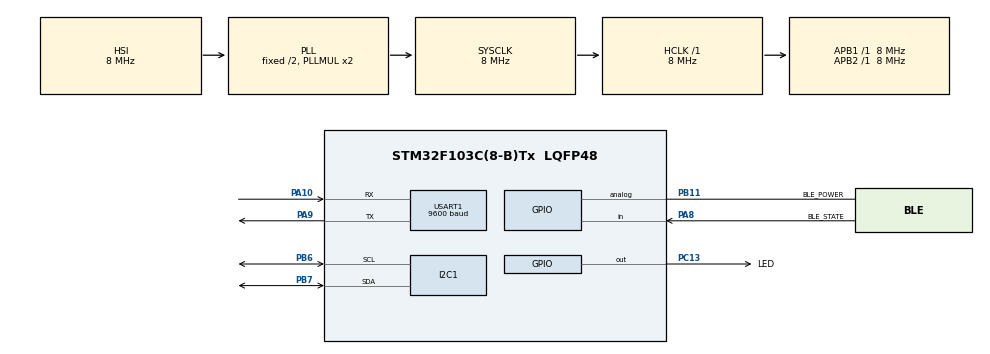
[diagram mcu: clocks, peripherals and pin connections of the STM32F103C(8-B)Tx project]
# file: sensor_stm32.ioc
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IWDG.Prescaler=IWDG_PRESCALER_256
Mcu.Family=STM32F1
Mcu.Name=STM32F103C(8-B)Tx
Mcu.Package=LQFP48
NVIC.PriorityGroup=NVIC_PRIORITYGROUP_4
NVIC.USART1_IRQn=true\:0\:0\:false\:false\:true\:true\:true\:true
PA10.Mode=Asynchronous
PA10.Signal=USART1_RX
PA13.Mode=Serial_Wire
PA13.Signal=SYS_JTMS-SWDIO
PA14.Mode=Serial_Wire
PA14.Signal=SYS_JTCK-SWCLK
PA8.GPIO_Label=BLE_STATE
PA8.Signal=GPIO_Input
PA9.Mode=Asynchronous
PA9.Signal=USART1_TX
PB11.GPIO_Label=BLE_POWER
PB11.Signal=GPIO_Analog
PB6.Mode=I2C
PB6.Signal=I2C1_SCL
PB7.Mode=I2C
PB7.Signal=I2C1_SDA
PC13-TAMPER-RTC.GPIO_Label=LED
PC13-TAMPER-RTC.PinState=GPIO_PIN_SET
PC13-TAMPER-RTC.Signal=GPIO_Output
ProjectManager.HeapSize=0x200
ProjectManager.StackSize=0x400
ProjectManager.TargetToolchain=STM32CubeIDE
RCC.AHBFreq_Value=8000000
RCC.APB1Freq_Value=8000000
RCC.APB1TimFreq_Value=8000000
RCC.APB2Freq_Value=8000000
RCC.APB2TimFreq_Value=8000000
RCC.HCLKFreq_Value=8000000
RCC.RTCClockSelection=RCC_RTCCLKSOURCE_LSE
RCC.SYSCLKFreq_VALUE=8000000
RCC.SYSCLKSource=RCC_SYSCLKSOURCE_PLLCLK
RCC.USBFreq_Value=8000000
USART1.BaudRate=9600
USART1.VirtualMode=VM_ASYNC
VP_IWDG_VS_IWDG.Mode=IWDG_Activate
board=custom

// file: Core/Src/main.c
/* USER CODE BEGIN Header */
/**
  ******************************************************************************
  * @file           : main.c
  * @brief          : Main program body
  ******************************************************************************
  * @attention
  *
  * Copyright (c) 2023 STMicroelectronics.
  * All rights reserved.
  *
  * This software is licensed under terms that can be found in the LICENSE file
  * in the root directory of this software component.
  * If no LICENSE file comes with this software, it is provided AS-IS.
  *
  ******************************************************************************
  */

/* USER CODE END Header */
#include "main.h"
#include "i2c.h"
#include "iwdg.h"
#include "usart.h"
#include "gpio.h"

/* USER CODE BEGIN Includes */

#include "sht3x.h"

/* USER CODE END Includes */

/* USER CODE BEGIN PTD */

#define USE_CLI 0
#define BLE_TIMEOUT_QUANTUM_MS 100
#define BLE_MAX_CONNECTION_TRIES (1000 / BLE_TIMEOUT_QUANTUM_MS * 3) // 3 seconds

#define BLE_5s_delay_counter 3125
#define BLE_30s_delay_counter 4095

// TODO Create an error code table
const char SENSOR_UNAVAILABLE_ERROR_STR[] = "e:1\n";
const char BLE_NO_RESPONSE_FROM_HOST[] = "e:2\n";

/* USER CODE END PTD */

void SystemClock_Config(void);
/* USER CODE BEGIN PFP */
inline void prepare_and_send_data();
inline void wait_reply_from_host();
inline void ble_on();
inline void ble_off();
inline void sleep();
/* USER CODE END PFP */

/* USER CODE BEGIN 0 */
// Create the handle for the sensor.
sht3x_handle_t handle = {
	.i2c_handle = &hi2c1,
	.device_address = SHT3X_I2C_DEVICE_ADDRESS_ADDR_PIN_LOW
//	.device_address = SHT3X_I2C_DEVICE_ADDRESS_ADDR_PIN_HIGH
};

bool is_sensor_work = true;

// TODO Test
#define BUFF_SIZE 128

bool on_BLE_data_ready = false;
uint8_t BLE_buff[BUFF_SIZE];
uint16_t BLE_received_data_size = 0;
uint8_t uart_sym;

extern uint32_t IWDG_prescaler;
extern uint32_t IWDG_reload;

const char request[] = "REQ\n";

const uint8_t BLE_MAX_REQUESTS = 5;
/* USER CODE END 0 */

int main(void)
{

  /* MCU Configuration--------------------------------------------------------*/

  /* Reset of all peripherals, Initializes the Flash interface and the Systick. */
  HAL_Init();

  /* Configure the system clock */
  SystemClock_Config();

  /* Initialize all configured peripherals */
  MX_GPIO_Init();
  MX_USART1_UART_Init();
  MX_I2C1_Init();
  MX_IWDG_Init();
  /* USER CODE BEGIN 2 */
  /* Clear the WU FLAG */
   __HAL_PWR_CLEAR_FLAG(PWR_FLAG_WU);	// Clear a flag to prevent endless MCU reseting
  /* USER CODE END 2 */

  /* Infinite loop */
  /* USER CODE BEGIN WHILE */

   /*
    * Какую инфу нужно отправлять?
    * 	- температура
    * 	- влажность
    * 	- заряд батереи!
    * 	- ошибку, если датчик влажности не работает
    */

  ble_on();

  bool is_connected = false;

  // Wait for connect
  for (uint8_t i = 0; i < BLE_MAX_CONNECTION_TRIES; ++i) {
	  is_connected = HAL_GPIO_ReadPin(BLE_STATE_GPIO_Port, BLE_STATE_Pin);

	  if (is_connected)
		  break;

	  HAL_Delay(BLE_TIMEOUT_QUANTUM_MS);
  }

  HAL_UART_Receive_IT(&huart1, &uart_sym, 1);

  // Initialise sensor (tests connection by reading the status register).
  is_sensor_work = sht3x_init(&handle);

  if (is_connected) {
	  if (is_sensor_work) {

		  HAL_Delay(1000);
		  prepare_and_send_data();

//		  wait_reply_from_host();
		  bool exit_flag = false;
		uint8_t ble_current_request_count = 0;
		while (exit_flag == false) {
			if (on_BLE_data_ready) {
				if (BLE_buff[0] == 'S') {
					exit_flag = true;

					if (BLE_buff[2] == '1') {
						// Set freq to 5 sec
						IWDG_prescaler = IWDG_PRESCALER_64;
						IWDG_reload = BLE_5s_delay_counter;
					}
					else if (BLE_buff[2] == '2') {
						// Set freq to 26 sec
						IWDG_prescaler = IWDG_PRESCALER_256;
						IWDG_reload = BLE_30s_delay_counter;
					}
					else {
						// Handle error
					}
				}
			}

			// Timeout
			if (ble_current_request_count > BLE_MAX_REQUESTS) {
//				HAL_UART_Transmit(&huart1, (uint8_t*)BLE_NO_RESPONSE_FROM_HOST,
//								strlen(BLE_NO_RESPONSE_FROM_HOST), 100);
				break;
			}

			++ble_current_request_count;

			HAL_Delay(300);
			HAL_UART_Transmit(&huart1, request, sizeof(request), 100);
		}
	  }
	  else {
		  // Change timer period to max period
		  // Set freq to 26 sec
		  IWDG_prescaler = IWDG_PRESCALER_256;
		  IWDG_reload = BLE_30s_delay_counter;

		  // Send an error
		  HAL_UART_Transmit(&huart1, (uint8_t*)SENSOR_UNAVAILABLE_ERROR_STR,
				  	  	    strlen(SENSOR_UNAVAILABLE_ERROR_STR), 100);
	  }
  }
  else {
	  // If couldn't connect to BLE go to low power checking mode - just try to connect every 26 seconds
	  // Set freq to 26 sec
	  IWDG_prescaler = IWDG_PRESCALER_256;
	  IWDG_reload = BLE_30s_delay_counter;
  }

  // Apply new IWDG timer settings before sleep
  MX_IWDG_Init();

  sleep();

  while (1)
  {
    /* USER CODE END WHILE */

  }
}

void SystemClock_Config(void)
{
  RCC_OscInitTypeDef RCC_OscInitStruct = {0};
  RCC_ClkInitTypeDef RCC_ClkInitStruct = {0};

  /** Initializes the RCC Oscillators according to the specified parameters
  * in the RCC_OscInitTypeDef structure.
  */
  RCC_OscInitStruct.OscillatorType = RCC_OSCILLATORTYPE_HSI|RCC_OSCILLATORTYPE_LSI;
  RCC_OscInitStruct.HSIState = RCC_HSI_ON;
  RCC_OscInitStruct.HSICalibrationValue = RCC_HSICALIBRATION_DEFAULT;
  RCC_OscInitStruct.LSIState = RCC_LSI_ON;
  RCC_OscInitStruct.PLL.PLLState = RCC_PLL_ON;
  RCC_OscInitStruct.PLL.PLLSource = RCC_PLLSOURCE_HSI_DIV2;
  RCC_OscInitStruct.PLL.PLLMUL = RCC_PLL_MUL2;
  if (HAL_RCC_OscConfig(&RCC_OscInitStruct) != HAL_OK)
  {
    Error_Handler();
  }

  /** Initializes the CPU, AHB and APB buses clocks
  */
  RCC_ClkInitStruct.ClockType = RCC_CLOCKTYPE_HCLK|RCC_CLOCKTYPE_SYSCLK
                              |RCC_CLOCKTYPE_PCLK1|RCC_CLOCKTYPE_PCLK2;
  RCC_ClkInitStruct.SYSCLKSource = RCC_SYSCLKSOURCE_PLLCLK;
  RCC_ClkInitStruct.AHBCLKDivider = RCC_SYSCLK_DIV1;
  RCC_ClkInitStruct.APB1CLKDivider = RCC_HCLK_DIV1;
  RCC_ClkInitStruct.APB2CLKDivider = RCC_HCLK_DIV1;

  if (HAL_RCC_ClockConfig(&RCC_ClkInitStruct, FLASH_LATENCY_0) != HAL_OK)
  {
    Error_Handler();
  }
}

/* USER CODE BEGIN 4 */
void HAL_UART_RxCpltCallback(UART_HandleTypeDef *huart) {
	// TODO Add check to string overflow

	if (uart_sym == 'S' ||
		uart_sym == ':' ||
		uart_sym == '1' ||
		uart_sym == '2')
	{
		BLE_buff[BLE_received_data_size++] = uart_sym;
		on_BLE_data_ready = true;
	}

	HAL_UART_Receive_IT(&huart1, &uart_sym, 1);
}

void HAL_UART_ErrorCallback(UART_HandleTypeDef *huart) {
	if (huart == &huart1) {
		uint32_t er = HAL_UART_GetError(huart);

		if (er == HAL_UART_ERROR_NONE) {
			return;
		}

		if (er & HAL_UART_ERROR_PE) {
			__HAL_UART_CLEAR_PEFLAG(huart);
		}
		if (er & HAL_UART_ERROR_NE) {
			__HAL_UART_CLEAR_NEFLAG(huart);
		}
		if (er & HAL_UART_ERROR_FE) {
			__HAL_UART_CLEAR_FEFLAG(huart);
		}
		if (er & HAL_UART_ERROR_ORE) {
			__HAL_UART_CLEAR_OREFLAG(huart);
		}
		if (er & HAL_UART_ERROR_DMA) {
			__HAL_UART_CLEAR_NEFLAG(huart);
		}
		huart->ErrorCode = HAL_UART_ERROR_NONE;
		HAL_UART_Receive_IT(huart, (uint8_t*) &uart_sym, 1);
 	}
 }

// Read temperature and humidity.
void prepare_and_send_data() {
	uint16_t temperature;
	uint16_t humidity;
	uint8_t battery_charge;

	sht3x_read_temperature_and_humidity(&handle, &temperature, &humidity);

	// Read battery charge
	battery_charge = 88;

	const uint8_t str_size = 19;
	char str[str_size];
	snprintf(str, str_size, "d:t%.2dh%.2db%.2d\n", temperature, humidity, battery_charge);

//	if (is_heater_used) {
//		sht3x_set_header_enable(&handle, true);
//		HAL_Delay(500);
//		sht3x_set_header_enable(&handle, false);
//	}

	HAL_UART_Transmit(&huart1, str, strlen(str), 100);
}

void wait_reply_from_host() {
//	bool exit_flag = false;
//	uint8_t ble_current_request_count = 0;
//	while (exit_flag == false) {
//		if (on_BLE_data_ready) {
//			if (BLE_buff[0] == 'S') {
//				exit_flag = true;
//
//				if (BLE_buff[2] == '1') {
//					// Set freq to 5 sec
//					IWDG_prescaler = IWDG_PRESCALER_64;
//					IWDG_reload = BLE_5s_delay_counter;
//				}
//				else if (BLE_buff[2] == '2') {
//					// Set freq to 26 sec
//					IWDG_prescaler = IWDG_PRESCALER_256;
//					IWDG_reload = BLE_30s_delay_counter;
//				}
//				else {
//				    // Handle error
//				}
//			}
//		}
//
//		// Timeout
//		if (ble_current_request_count > BLE_MAX_REQUESTS) {
//			HAL_UART_Transmit(&huart1, (uint8_t*)BLE_NO_RESPONSE_FROM_HOST,
//							strlen(BLE_NO_RESPONSE_FROM_HOST), 100);
//			break;
//		}
//
//		++ble_current_request_count;
//
//		HAL_Delay(300);
//		HAL_UART_Transmit(&huart1, request, sizeof(request), 100);
//	}
}

void ble_on() {
	// Setup GPIO pin in output push-pull mode
	BLE_POWER_GPIO_Port->CRH |= GPIO_CRH_MODE11_0;

//	HAL_GPIO_WritePin(BLE_POWER_GPIO_Port, BLE_POWER_Pin, GPIO_PIN_SET);
	HAL_GPIO_WritePin(BLE_POWER_GPIO_Port, BLE_POWER_Pin, GPIO_PIN_RESET);

	HAL_GPIO_WritePin(LED_GPIO_Port, LED_Pin, GPIO_PIN_RESET);
}

void ble_off() {
	// Setup GPIO pin in analog
	BLE_POWER_GPIO_Port->CRH &= ~GPIO_CRH_MODE11;

//	HAL_GPIO_WritePin(BLE_POWER_GPIO_Port, BLE_POWER_Pin, GPIO_PIN_RESET);
//	HAL_GPIO_WritePin(BLE_POWER_GPIO_Port, BLE_POWER_Pin, GPIO_PIN_SET);

	HAL_GPIO_WritePin(LED_GPIO_Port, LED_Pin, GPIO_PIN_SET);
}

void sleep() {
	ble_off();
//	HAL_PWR_EnterSTANDBYMode();
}

/* USER CODE END 4 */

void Error_Handler(void)
{
  __disable_irq();
  while (1)
  {
  }
}
